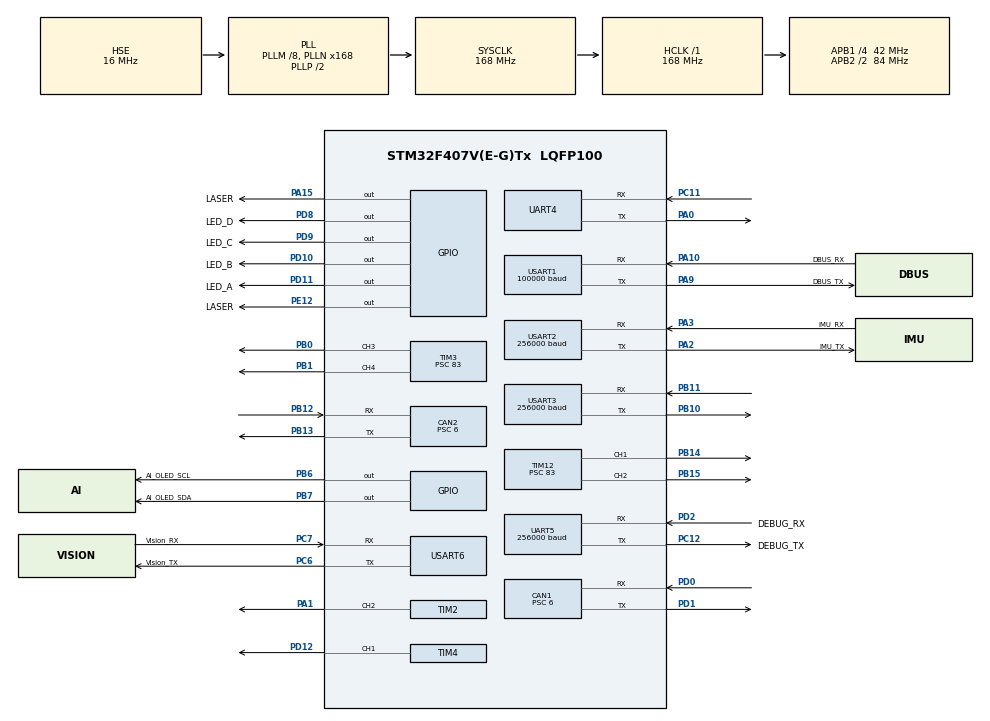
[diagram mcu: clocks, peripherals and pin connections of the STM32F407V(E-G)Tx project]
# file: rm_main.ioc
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CAN1.ABOM=ENABLE
CAN1.BS1=CAN_BS1_3TQ
CAN1.BS2=CAN_BS2_3TQ
CAN1.CalculateTimeQuantum=142.85714285714286
CAN1.Prescaler=6
CAN2.ABOM=ENABLE
CAN2.BS1=CAN_BS1_3TQ
CAN2.BS2=CAN_BS2_3TQ
CAN2.CalculateTimeQuantum=142.85714285714286
CAN2.Prescaler=6
Dma.Request0=USART2_RX
Dma.Request1=USART3_RX
Dma.Request10=USART6_TX
Dma.Request11=USART1_TX
Dma.Request2=USART3_TX
Dma.Request3=USART1_RX
Dma.Request4=USART6_RX
Dma.Request5=UART5_RX
Dma.Request6=UART5_TX
Dma.Request7=USART2_TX
Dma.Request8=UART4_RX
Dma.Request9=UART4_TX
Dma.UART4_RX.8.Direction=DMA_PERIPH_TO_MEMORY
Dma.UART4_RX.8.FIFOMode=DMA_FIFOMODE_DISABLE
Dma.UART4_RX.8.Instance=DMA1_Stream2
Dma.UART4_RX.8.MemDataAlignment=DMA_MDATAALIGN_BYTE
Dma.UART4_RX.8.MemInc=DMA_MINC_ENABLE
Dma.UART4_RX.8.Mode=DMA_NORMAL
Dma.UART4_RX.8.PeriphDataAlignment=DMA_PDATAALIGN_BYTE
Dma.UART4_RX.8.PeriphInc=DMA_PINC_DISABLE
Dma.UART4_RX.8.Priority=DMA_PRIORITY_LOW
Dma.UART4_TX.9.Direction=DMA_MEMORY_TO_PERIPH
Dma.UART4_TX.9.FIFOMode=DMA_FIFOMODE_DISABLE
Dma.UART4_TX.9.Instance=DMA1_Stream4
Dma.UART4_TX.9.MemDataAlignment=DMA_MDATAALIGN_BYTE
Dma.UART4_TX.9.MemInc=DMA_MINC_ENABLE
Dma.UART4_TX.9.Mode=DMA_NORMAL
Dma.UART4_TX.9.PeriphDataAlignment=DMA_PDATAALIGN_BYTE
Dma.UART4_TX.9.PeriphInc=DMA_PINC_DISABLE
Dma.UART4_TX.9.Priority=DMA_PRIORITY_LOW
Dma.UART5_RX.5.Direction=DMA_PERIPH_TO_MEMORY
Dma.UART5_RX.5.FIFOMode=DMA_FIFOMODE_DISABLE
Dma.UART5_RX.5.Instance=DMA1_Stream0
Dma.UART5_RX.5.MemDataAlignment=DMA_MDATAALIGN_BYTE
Dma.UART5_RX.5.MemInc=DMA_MINC_ENABLE
Dma.UART5_RX.5.Mode=DMA_NORMAL
Dma.UART5_RX.5.PeriphDataAlignment=DMA_PDATAALIGN_BYTE
Dma.UART5_RX.5.PeriphInc=DMA_PINC_DISABLE
Dma.UART5_RX.5.Priority=DMA_PRIORITY_LOW
Dma.UART5_TX.6.Direction=DMA_MEMORY_TO_PERIPH
Dma.UART5_TX.6.FIFOMode=DMA_FIFOMODE_DISABLE
Dma.UART5_TX.6.Instance=DMA1_Stream7
Dma.UART5_TX.6.MemDataAlignment=DMA_MDATAALIGN_BYTE
Dma.UART5_TX.6.MemInc=DMA_MINC_ENABLE
Dma.UART5_TX.6.Mode=DMA_NORMAL
Dma.UART5_TX.6.PeriphDataAlignment=DMA_PDATAALIGN_BYTE
Dma.UART5_TX.6.PeriphInc=DMA_PINC_DISABLE
Dma.UART5_TX.6.Priority=DMA_PRIORITY_LOW
Dma.USART1_RX.3.Direction=DMA_PERIPH_TO_MEMORY
Dma.USART1_RX.3.FIFOMode=DMA_FIFOMODE_DISABLE
Dma.USART1_RX.3.Instance=DMA2_Stream2
Dma.USART1_RX.3.MemDataAlignment=DMA_MDATAALIGN_BYTE
Dma.USART1_RX.3.MemInc=DMA_MINC_ENABLE
Dma.USART1_RX.3.Mode=DMA_NORMAL
Dma.USART1_RX.3.PeriphDataAlignment=DMA_PDATAALIGN_BYTE
Dma.USART1_RX.3.PeriphInc=DMA_PINC_DISABLE
Dma.USART1_RX.3.Priority=DMA_PRIORITY_LOW
Dma.USART1_TX.11.Direction=DMA_MEMORY_TO_PERIPH
Dma.USART1_TX.11.FIFOMode=DMA_FIFOMODE_DISABLE
Dma.USART1_TX.11.Instance=DMA2_Stream7
Dma.USART1_TX.11.MemDataAlignment=DMA_MDATAALIGN_BYTE
Dma.USART1_TX.11.MemInc=DMA_MINC_ENABLE
Dma.USART1_TX.11.Mode=DMA_NORMAL
Dma.USART1_TX.11.PeriphDataAlignment=DMA_PDATAALIGN_BYTE
Dma.USART1_TX.11.PeriphInc=DMA_PINC_DISABLE
Dma.USART1_TX.11.Priority=DMA_PRIORITY_LOW
Dma.USART2_RX.0.Direction=DMA_PERIPH_TO_MEMORY
Dma.USART2_RX.0.FIFOMode=DMA_FIFOMODE_DISABLE
Dma.USART2_RX.0.Instance=DMA1_Stream5
Dma.USART2_RX.0.MemDataAlignment=DMA_MDATAALIGN_BYTE
Dma.USART2_RX.0.MemInc=DMA_MINC_ENABLE
Dma.USART2_RX.0.Mode=DMA_NORMAL
Dma.USART2_RX.0.PeriphDataAlignment=DMA_PDATAALIGN_BYTE
Dma.USART2_RX.0.PeriphInc=DMA_PINC_DISABLE
Dma.USART2_RX.0.Priority=DMA_PRIORITY_LOW
Dma.USART2_TX.7.Direction=DMA_MEMORY_TO_PERIPH
Dma.USART2_TX.7.FIFOMode=DMA_FIFOMODE_DISABLE
Dma.USART2_TX.7.Instance=DMA1_Stream6
Dma.USART2_TX.7.MemDataAlignment=DMA_MDATAALIGN_BYTE
Dma.USART2_TX.7.MemInc=DMA_MINC_ENABLE
Dma.USART2_TX.7.Mode=DMA_NORMAL
Dma.USART2_TX.7.PeriphDataAlignment=DMA_PDATAALIGN_BYTE
Dma.USART2_TX.7.PeriphInc=DMA_PINC_DISABLE
Dma.USART2_TX.7.Priority=DMA_PRIORITY_LOW
Dma.USART3_RX.1.Direction=DMA_PERIPH_TO_MEMORY
Dma.USART3_RX.1.FIFOMode=DMA_FIFOMODE_DISABLE
Dma.USART3_RX.1.Instance=DMA1_Stream1
Dma.USART3_RX.1.MemDataAlignment=DMA_MDATAALIGN_BYTE
Dma.USART3_RX.1.MemInc=DMA_MINC_ENABLE
Dma.USART3_RX.1.Mode=DMA_NORMAL
Dma.USART3_RX.1.PeriphDataAlignment=DMA_PDATAALIGN_BYTE
Dma.USART3_RX.1.PeriphInc=DMA_PINC_DISABLE
Dma.USART3_RX.1.Priority=DMA_PRIORITY_LOW
Dma.USART3_TX.2.Direction=DMA_MEMORY_TO_PERIPH
Dma.USART3_TX.2.FIFOMode=DMA_FIFOMODE_DISABLE
Dma.USART3_TX.2.Instance=DMA1_Stream3
Dma.USART3_TX.2.MemDataAlignment=DMA_MDATAALIGN_BYTE
Dma.USART3_TX.2.MemInc=DMA_MINC_ENABLE
Dma.USART3_TX.2.Mode=DMA_NORMAL
Dma.USART3_TX.2.PeriphDataAlignment=DMA_PDATAALIGN_BYTE
Dma.USART3_TX.2.PeriphInc=DMA_PINC_DISABLE
Dma.USART3_TX.2.Priority=DMA_PRIORITY_LOW
Dma.USART6_RX.4.Direction=DMA_PERIPH_TO_MEMORY
Dma.USART6_RX.4.FIFOMode=DMA_FIFOMODE_DISABLE
Dma.USART6_RX.4.Instance=DMA2_Stream1
Dma.USART6_RX.4.MemDataAlignment=DMA_MDATAALIGN_BYTE
Dma.USART6_RX.4.MemInc=DMA_MINC_ENABLE
Dma.USART6_RX.4.Mode=DMA_NORMAL
Dma.USART6_RX.4.PeriphDataAlignment=DMA_PDATAALIGN_BYTE
Dma.USART6_RX.4.PeriphInc=DMA_PINC_DISABLE
Dma.USART6_RX.4.Priority=DMA_PRIORITY_LOW
Dma.USART6_TX.10.Direction=DMA_MEMORY_TO_PERIPH
Dma.USART6_TX.10.FIFOMode=DMA_FIFOMODE_DISABLE
Dma.USART6_TX.10.Instance=DMA2_Stream6
Dma.USART6_TX.10.MemDataAlignment=DMA_MDATAALIGN_BYTE
Dma.USART6_TX.10.MemInc=DMA_MINC_ENABLE
Dma.USART6_TX.10.Mode=DMA_NORMAL
Dma.USART6_TX.10.PeriphDataAlignment=DMA_PDATAALIGN_BYTE
Dma.USART6_TX.10.PeriphInc=DMA_PINC_DISABLE
Dma.USART6_TX.10.Priority=DMA_PRIORITY_LOW
FREERTOS.INCLUDE_vTaskDelayUntil=1
FREERTOS.Tasks01=defaultTask,0,128,StartDefaultTask,Default,NULL
FREERTOS.configUSE_TIMERS=1
Mcu.Family=STM32F4
Mcu.Name=STM32F407V(E-G)Tx
Mcu.Package=LQFP100
NVIC.CAN1_RX0_IRQn=true\:5\:0\:false\:false\:true\:true\:true\:true
NVIC.CAN1_RX1_IRQn=true\:5\:0\:false\:false\:true\:true\:true\:true
NVIC.CAN1_SCE_IRQn=true\:5\:0\:false\:false\:true\:true\:true\:true
NVIC.CAN1_TX_IRQn=true\:5\:0\:false\:false\:true\:true\:true\:true
NVIC.CAN2_RX0_IRQn=true\:5\:0\:false\:false\:true\:true\:true\:true
NVIC.CAN2_RX1_IRQn=true\:5\:0\:false\:false\:true\:true\:true\:true
NVIC.CAN2_SCE_IRQn=true\:5\:0\:false\:false\:true\:true\:true\:true
NVIC.CAN2_TX_IRQn=true\:5\:0\:false\:false\:true\:true\:true\:true
NVIC.DMA1_Stream0_IRQn=true\:5\:0\:false\:false\:true\:true\:false\:true
NVIC.DMA1_Stream1_IRQn=true\:5\:0\:false\:false\:true\:true\:false\:true
NVIC.DMA1_Stream2_IRQn=true\:5\:0\:false\:false\:true\:true\:false\:true
NVIC.DMA1_Stream3_IRQn=true\:5\:0\:false\:false\:true\:true\:false\:true
NVIC.DMA1_Stream4_IRQn=true\:5\:0\:false\:false\:true\:true\:false\:true
NVIC.DMA1_Stream5_IRQn=true\:5\:0\:false\:false\:true\:true\:false\:true
NVIC.DMA1_Stream6_IRQn=true\:5\:0\:false\:false\:true\:true\:false\:true
NVIC.DMA1_Stream7_IRQn=true\:5\:0\:false\:false\:true\:true\:false\:true
NVIC.DMA2_Stream1_IRQn=true\:5\:0\:false\:false\:true\:true\:false\:true
NVIC.DMA2_Stream2_IRQn=true\:5\:0\:false\:false\:true\:true\:false\:true
NVIC.DMA2_Stream6_IRQn=true\:5\:0\:false\:false\:true\:true\:false\:true
NVIC.DMA2_Stream7_IRQn=true\:5\:0\:false\:false\:true\:true\:false\:true
NVIC.PriorityGroup=NVIC_PRIORITYGROUP_4
NVIC.TIM1_UP_TIM10_IRQn=true\:0\:0\:false\:false\:true\:false\:false\:true
NVIC.TimeBase=TIM1_UP_TIM10_IRQn
NVIC.TimeBaseIP=TIM10
NVIC.UART4_IRQn=true\:5\:0\:false\:false\:true\:true\:true\:true
NVIC.UART5_IRQn=true\:5\:0\:false\:false\:true\:true\:true\:true
NVIC.USART1_IRQn=true\:5\:0\:false\:false\:true\:true\:true\:true
NVIC.USART2_IRQn=true\:5\:0\:false\:false\:true\:true\:true\:true
NVIC.USART3_IRQn=true\:5\:0\:false\:false\:true\:true\:true\:true
NVIC.USART6_IRQn=true\:5\:0\:false\:false\:true\:true\:true\:true
PA0-WKUP.Mode=Asynchronous
PA0-WKUP.Signal=UART4_TX
PA1.Signal=S_TIM2_CH2
PA10.GPIO_Label=DBUS_RX
PA10.Mode=Asynchronous
PA10.Signal=USART1_RX
PA13.Mode=Serial_Wire
PA13.Signal=SYS_JTMS-SWDIO
PA14.Mode=Serial_Wire
PA14.Signal=SYS_JTCK-SWCLK
PA15.GPIO_Label=LASER
PA15.Signal=GPIO_Output
PA2.GPIO_Label=IMU_TX
PA2.Mode=Asynchronous
PA2.Signal=USART2_TX
PA3.GPIO_Label=IMU_RX
PA3.Mode=Asynchronous
PA3.Signal=USART2_RX
PA9.GPIO_Label=DBUS_TX
PA9.Mode=Asynchronous
PA9.Signal=USART1_TX
PB0.Signal=S_TIM3_CH3
PB1.Signal=S_TIM3_CH4
PB10.Mode=Asynchronous
PB10.Signal=USART3_TX
PB11.Mode=Asynchronous
PB11.Signal=USART3_RX
PB12.Mode=Slave
PB12.Signal=CAN2_RX
PB13.Mode=Slave
PB13.Signal=CAN2_TX
PB14.Signal=S_TIM12_CH1
PB15.Signal=S_TIM12_CH2
PB6.GPIO_Label=AI_OLED_SCL
PB6.Signal=GPIO_Output
PB7.GPIO_Label=AI_OLED_SDA
PB7.Signal=GPIO_Output
PC11.Mode=Asynchronous
PC11.Signal=UART4_RX
PC12.GPIO_Label=DEBUG_TX
PC12.Mode=Asynchronous
PC12.Signal=UART5_TX
PC6.GPIO_Label=Vision_TX
PC6.Mode=Asynchronous
PC6.Signal=USART6_TX
PC7.GPIO_Label=Vision_RX
PC7.Mode=Asynchronous
PC7.Signal=USART6_RX
PD0.Mode=Master
PD0.Signal=CAN1_RX
PD1.Mode=Master
PD1.Signal=CAN1_TX
PD10.GPIO_Label=LED_B
PD10.Signal=GPIO_Output
PD11.GPIO_Label=LED_A
PD11.Signal=GPIO_Output
PD12.Signal=S_TIM4_CH1
PD2.GPIO_Label=DEBUG_RX
PD2.Mode=Asynchronous
PD2.Signal=UART5_RX
PD8.GPIO_Label=LED_D
PD8.Signal=GPIO_Output
PD9.GPIO_Label=LED_C
PD9.Signal=GPIO_Output
PE12.GPIO_Label=LASER
PE12.Signal=GPIO_Output
PH0-OSC_IN.Mode=HSE-External-Oscillator
PH0-OSC_IN.Signal=RCC_OSC_IN
PH1-OSC_OUT.Mode=HSE-External-Oscillator
PH1-OSC_OUT.Signal=RCC_OSC_OUT
ProjectManager.HeapSize=0x1000
ProjectManager.StackSize=0x600
ProjectManager.TargetToolchain=MDK-ARM V5
RCC.48MHZClocksFreq_Value=84000000
RCC.AHBFreq_Value=168000000
RCC.APB1CLKDivider=RCC_HCLK_DIV4
RCC.APB1Freq_Value=42000000
RCC.APB1TimFreq_Value=84000000
RCC.APB2CLKDivider=RCC_HCLK_DIV2
RCC.APB2Freq_Value=84000000
RCC.APB2TimFreq_Value=168000000
RCC.CortexFreq_Value=168000000
RCC.HCLKFreq_Value=168000000
RCC.HSE_VALUE=16000000
RCC.HSI_VALUE=16000000
RCC.LSE_VALUE=32768
RCC.PLLM=8
RCC.PLLN=168
RCC.PLLSourceVirtual=RCC_PLLSOURCE_HSE
RCC.SYSCLKFreq_VALUE=168000000
RCC.SYSCLKSource=RCC_SYSCLKSOURCE_PLLCLK
RCC.VCOOutputFreq_Value=336000000
SH.S_TIM12_CH1.0=TIM12_CH1,PWM Generation1 CH1
SH.S_TIM12_CH2.0=TIM12_CH2,PWM Generation2 CH2
SH.S_TIM2_CH2.0=TIM2_CH2,PWM Generation2 CH2
SH.S_TIM3_CH3.0=TIM3_CH3,PWM Generation3 CH3
SH.S_TIM3_CH4.0=TIM3_CH4,PWM Generation4 CH4
SH.S_TIM4_CH1.0=TIM4_CH1,PWM Generation1 CH1
TIM12.Channel-PWM\ Generation1\ CH1=TIM_CHANNEL_1
TIM12.Channel-PWM\ Generation2\ CH2=TIM_CHANNEL_2
TIM12.Period=19999
TIM12.Prescaler=83
TIM13.Period=19999
TIM13.Prescaler=83
TIM2.Channel-PWM\ Generation2\ CH2=TIM_CHANNEL_2
TIM2.Period=19999
TIM2.Prescaler=83
TIM3.Channel-PWM\ Generation3\ CH3=TIM_CHANNEL_3
TIM3.Channel-PWM\ Generation4\ CH4=TIM_CHANNEL_4
TIM3.Period=19999
TIM3.Prescaler=83
TIM3.Pulse-PWM\ Generation3\ CH3=800
TIM3.Pulse-PWM\ Generation4\ CH4=800
TIM4.Channel-PWM\ Generation1\ CH1=TIM_CHANNEL_1
TIM4.Period=19999
TIM4.Prescaler=83
TIM4.Pulse-PWM\ Generation1\ CH1=800
UART4.VirtualMode=Asynchronous
UART5.BaudRate=256000
UART5.VirtualMode=Asynchronous
USART1.BaudRate=100000
USART1.Parity=PARITY_EVEN
USART1.VirtualMode=VM_ASYNC
USART2.BaudRate=256000
USART2.VirtualMode=VM_ASYNC
USART3.BaudRate=256000
USART3.VirtualMode=VM_ASYNC
USART6.VirtualMode=VM_ASYNC
VP_FREERTOS_VS_CMSIS_V1.Mode=CMSIS_V1
VP_SYS_VS_tim10.Mode=TIM10
VP_TIM13_VS_ClockSourceINT.Mode=Enable_Timer
board=custom

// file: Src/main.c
/* USER CODE BEGIN Header */
/**
  ******************************************************************************
  * @file           : main.c
  * @brief          : Main program body
  ******************************************************************************
  * @attention
  *
  * <h2><center>&copy; Copyright (c) 2019 STMicroelectronics.
  * All rights reserved.</center></h2>
  *
  * This software component is licensed by ST under Ultimate Liberty license
  * SLA0044, the "License"; You may not use this file except in compliance with
  * the License. You may obtain a copy of the License at:
  *                             www.st.com/SLA0044
  *
  ******************************************************************************
  */
/* USER CODE END Header */

#include "main.h"
#include "cmsis_os.h"
#include "can.h"
#include "dma.h"
#include "tim.h"
#include "usart.h"
#include "gpio.h"

/* USER CODE BEGIN Includes */
#include "bsp_can.h"
#include "chassis_task.h"
#include "gimbal_task.h"
#include "status_task.h"
#include "shoot_task.h"
#include "modeswitch_task.h"
#include "visionfire_task.h"
#include "bsp_powerlimit.h"
#include "bsp_usart.h"
#include "KalmanFilter.h"
/* USER CODE END Includes */

void SystemClock_Config(void);
void MX_FREERTOS_Init(void);

int main(void)
{

  /* MCU Configuration--------------------------------------------------------*/

  /* Reset of all peripherals, Initializes the Flash interface and the Systick. */
  HAL_Init();

  /* Configure the system clock */
  SystemClock_Config();

  /* Initialize all configured peripherals */
  MX_GPIO_Init();
  MX_DMA_Init();
  MX_CAN1_Init();
  MX_CAN2_Init();
  MX_TIM2_Init();
  MX_TIM3_Init();
  MX_TIM13_Init();
  MX_UART5_Init();
  MX_USART1_UART_Init();
  MX_USART2_UART_Init();
  MX_USART3_UART_Init();
  MX_USART6_UART_Init();
  MX_TIM12_Init();
  MX_UART4_Init();
  MX_TIM4_Init();
  /* USER CODE BEGIN 2 */
	status_init();
	can_device_init();
	shoot_init();
	chassis_init();
	gimbal_param_init();
	PowerControl_Init();
	Kalman_init();
	USER_UART_Init();
	HAL_Delay(2000);

  /* USER CODE END 2 */

  /* Call init function for freertos objects (in freertos.c) */
  MX_FREERTOS_Init();

  /* Start scheduler */
  osKernelStart();

  /* We should never get here as control is now taken by the scheduler */

  /* Infinite loop */
  while (1)
  {

  }
}

void SystemClock_Config(void)
{
  RCC_OscInitTypeDef RCC_OscInitStruct = {0};
  RCC_ClkInitTypeDef RCC_ClkInitStruct = {0};

  /** Configure the main internal regulator output voltage
  */
  __HAL_RCC_PWR_CLK_ENABLE();
  __HAL_PWR_VOLTAGESCALING_CONFIG(PWR_REGULATOR_VOLTAGE_SCALE1);
  /** Initializes the CPU, AHB and APB busses clocks
  */
  RCC_OscInitStruct.OscillatorType = RCC_OSCILLATORTYPE_HSE;
  RCC_OscInitStruct.HSEState = RCC_HSE_ON;
  RCC_OscInitStruct.PLL.PLLState = RCC_PLL_ON;
  RCC_OscInitStruct.PLL.PLLSource = RCC_PLLSOURCE_HSE;
  RCC_OscInitStruct.PLL.PLLM = 8;
  RCC_OscInitStruct.PLL.PLLN = 168;
  RCC_OscInitStruct.PLL.PLLP = RCC_PLLP_DIV2;
  RCC_OscInitStruct.PLL.PLLQ = 4;
  if (HAL_RCC_OscConfig(&RCC_OscInitStruct) != HAL_OK)
  {
    Error_Handler();
  }
  /** Initializes the CPU, AHB and APB busses clocks
  */
  RCC_ClkInitStruct.ClockType = RCC_CLOCKTYPE_HCLK|RCC_CLOCKTYPE_SYSCLK
                              |RCC_CLOCKTYPE_PCLK1|RCC_CLOCKTYPE_PCLK2;
  RCC_ClkInitStruct.SYSCLKSource = RCC_SYSCLKSOURCE_PLLCLK;
  RCC_ClkInitStruct.AHBCLKDivider = RCC_SYSCLK_DIV1;
  RCC_ClkInitStruct.APB1CLKDivider = RCC_HCLK_DIV4;
  RCC_ClkInitStruct.APB2CLKDivider = RCC_HCLK_DIV2;

  if (HAL_RCC_ClockConfig(&RCC_ClkInitStruct, FLASH_LATENCY_5) != HAL_OK)
  {
    Error_Handler();
  }
}

void HAL_TIM_PeriodElapsedCallback(TIM_HandleTypeDef *htim)
{
  if (htim->Instance == TIM10) {
    HAL_IncTick();
  }
}

void Error_Handler(void)
{
}

/************************ (C) COPYRIGHT STMicroelectronics *****END OF FILE****/

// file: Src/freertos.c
/* USER CODE BEGIN Header */
/**
  ******************************************************************************
  * File Name          : freertos.c
  * Description        : Code for freertos applications
  ******************************************************************************
  * @attention
  *
  * <h2><center>&copy; Copyright (c) 2019 STMicroelectronics.
  * All rights reserved.</center></h2>
  *
  * This software component is licensed by ST under Ultimate Liberty license
  * SLA0044, the "License"; You may not use this file except in compliance with
  * the License. You may obtain a copy of the License at:
  *                             www.st.com/SLA0044
  *
  ******************************************************************************
  */
/* USER CODE END Header */

#include "FreeRTOS.h"
#include "task.h"
#include "main.h"
#include "cmsis_os.h"

/* USER CODE BEGIN Includes */
#include "stm32f4xx_hal.h"
#include "comm_task.h"
#include "chassis_task.h"
#include "modeswitch_task.h"
#include "gimbal_task.h"
#include "shoot_task.h"
#include "status_task.h"
#include "bsp_judge.h"
#include "bsp_can.h"
#include "referee.h"
/* USER CODE END Includes */

/* USER CODE BEGIN Variables */
osThreadId can_msg_send_task_t;
osThreadId chassis_task_t;
osThreadId gimbal_task_t;
osThreadId mode_sw_task_t;
osThreadId shoot_task_t;
osThreadId status_task_t;
osThreadId judge_send_task_t;
osThreadId usart_msg_send_task_t;
osThreadId referee_task_t;
osThreadId chassis_odom_send_task_t;
/* USER CODE END Variables */
osThreadId defaultTaskHandle;

void StartDefaultTask(void const * argument);

void MX_FREERTOS_Init(void); /* (MISRA C 2004 rule 8.1) */

/* GetIdleTaskMemory prototype (linked to static allocation support) */
void vApplicationGetIdleTaskMemory( StaticTask_t **ppxIdleTaskTCBBuffer, StackType_t **ppxIdleTaskStackBuffer, uint32_t *pulIdleTaskStackSize );

/* GetTimerTaskMemory prototype (linked to static allocation support) */
void vApplicationGetTimerTaskMemory( StaticTask_t **ppxTimerTaskTCBBuffer, StackType_t **ppxTimerTaskStackBuffer, uint32_t *pulTimerTaskStackSize );

/* USER CODE BEGIN GET_IDLE_TASK_MEMORY */
static StaticTask_t xIdleTaskTCBBuffer;
static StackType_t xIdleStack[configMINIMAL_STACK_SIZE];

void vApplicationGetIdleTaskMemory( StaticTask_t **ppxIdleTaskTCBBuffer, StackType_t **ppxIdleTaskStackBuffer, uint32_t *pulIdleTaskStackSize )
{
  *ppxIdleTaskTCBBuffer = &xIdleTaskTCBBuffer;
  *ppxIdleTaskStackBuffer = &xIdleStack[0];
  *pulIdleTaskStackSize = configMINIMAL_STACK_SIZE;
  /* place for user code */
}
/* USER CODE END GET_IDLE_TASK_MEMORY */

/* USER CODE BEGIN GET_TIMER_TASK_MEMORY */
static StaticTask_t xTimerTaskTCBBuffer;
static StackType_t xTimerStack[configTIMER_TASK_STACK_DEPTH];

void vApplicationGetTimerTaskMemory( StaticTask_t **ppxTimerTaskTCBBuffer, StackType_t **ppxTimerTaskStackBuffer, uint32_t *pulTimerTaskStackSize )
{
  *ppxTimerTaskTCBBuffer = &xTimerTaskTCBBuffer;
  *ppxTimerTaskStackBuffer = &xTimerStack[0];
  *pulTimerTaskStackSize = configTIMER_TASK_STACK_DEPTH;
  /* place for user code */
}
/* USER CODE END GET_TIMER_TASK_MEMORY */

void MX_FREERTOS_Init(void) {

  /* USER CODE BEGIN RTOS_TIMERS */
  /* start timers, add new ones, ... */
	taskENTER_CRITICAL();

  /* USER CODE END RTOS_TIMERS */

  /* Create the thread(s) */
  /* definition and creation of defaultTask */
  osThreadDef(defaultTask, StartDefaultTask, osPriorityNormal, 0, 128);
  defaultTaskHandle = osThreadCreate(osThread(defaultTask), NULL);

  /* USER CODE BEGIN RTOS_THREADS */
  /* add threads, ... */
			/* high priority task */

	/***************************High priority task***************************/
	osThreadDef(canTask, can_msg_send_task, osPriorityHigh, 0, 512);
  can_msg_send_task_t = osThreadCreate(osThread(canTask), NULL);

	osThreadDef(usartTask, usart_msg_send_task, osPriorityHigh, 0, 256);
  usart_msg_send_task_t = osThreadCreate(osThread(usartTask), NULL);

	osThreadDef(refereeTask, referee_task, osPriorityHigh, 0, 512);
	referee_task_t = osThreadCreate(osThread(refereeTask),NULL);

	osThreadDef(chassisodomsendTask, chassis_odom_send_task ,osPriorityHigh,0,512);
	chassis_odom_send_task_t = osThreadCreate(osThread(chassisodomsendTask),NULL);

	/***********************AboveNormal priority task***********************/
	osThreadDef(chassisTask, chassis_task, osPriorityAboveNormal, 0, 256);
	chassis_task_t = osThreadCreate(osThread(chassisTask),NULL);

	osThreadDef(gimbalTask, gimbal_task, osPriorityAboveNormal, 0, 512);
	gimbal_task_t = osThreadCreate(osThread(gimbalTask),NULL);

	osThreadDef(shootTask, shoot_task, osPriorityAboveNormal, 0, 256);
	shoot_task_t = osThreadCreate(osThread(shootTask),NULL);

	/**************************Normal priority task**************************/
	osThreadDef(modeswTask, mode_switch_task, osPriorityNormal, 0, 128);
	mode_sw_task_t = osThreadCreate(osThread(modeswTask),NULL);

//	osThreadDef(judgesendTask, judge_send_task, osPriorityNormal, 0, 128);
//	judge_send_task_t = osThreadCreate(osThread(judgesendTask),NULL);

	//osThreadDef(statusTask, status_task, osPriorityLow, 0, 128);
	//status_task_t = osThreadCreate(osThread(statusTask),NULL);
	 	 /* low priority task */

	taskEXIT_CRITICAL();
  /* USER CODE END RTOS_THREADS */

}

void StartDefaultTask(void const * argument)
{

  /* USER CODE BEGIN StartDefaultTask */
  /* Infinite loop */
  for(;;)
  {

    osDelay(100);
  }
  /* USER CODE END StartDefaultTask */
}

/************************ (C) COPYRIGHT STMicroelectronics *****END OF FILE****/
